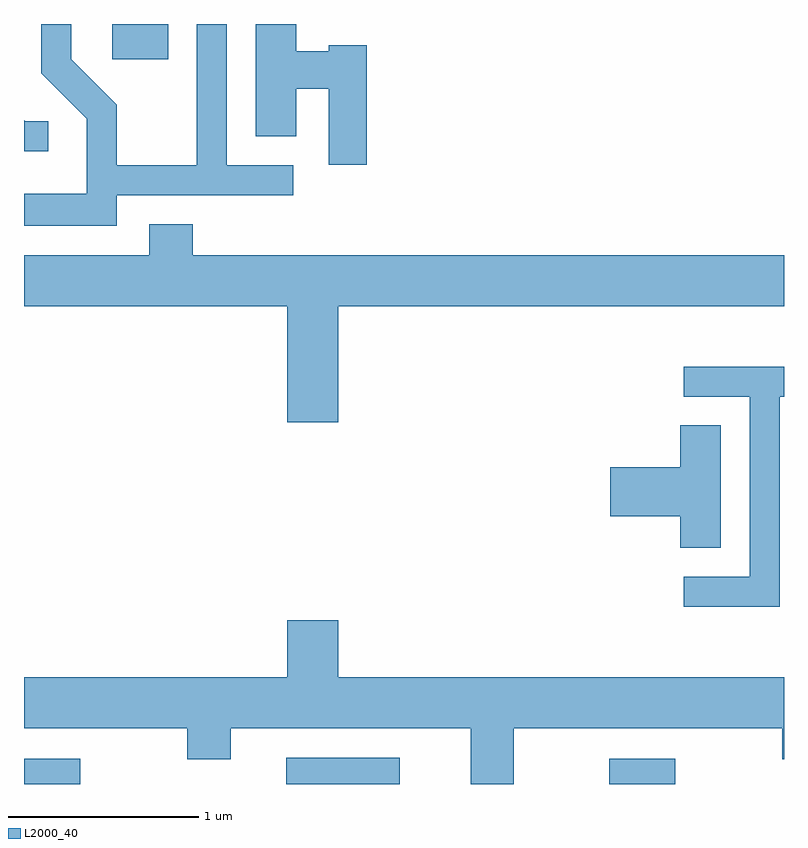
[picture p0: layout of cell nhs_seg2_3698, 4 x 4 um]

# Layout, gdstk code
import gdstk
lib = gdstk.Library(unit=1e-6, precision=1e-09)
def R(c, l, rs):  # rectangles x0, y0, x1, y1
    for r in rs: c.add(gdstk.rectangle(r[:2], r[2:], *l))
def P(c, l, *ps):  # polygons
    for p in ps: c.add(gdstk.Polygon(p, *l))
L2000_40 = (2000, 40)

nhs_seg2_3698 = lib.new_cell('nhs_seg2_3698')
R(nhs_seg2_3698, L2000_40, [(293.611,1045.802,293.908,1045.934), (294.991,1045.802,295.588,1045.939), (296.691,1045.802,297.038,1045.934), (294.076,1049.616,294.369,1049.802)])
P(nhs_seg2_3698, L2000_40, [(294.099,1048.901),(295.028,1048.901),(295.028,1049.059),(294.679,1049.059),(294.679,1049.802),(294.521,1049.802),(294.521,1049.059),(294.099,1049.059),(294.099,1049.377),(293.859,1049.617),(293.859,1049.802),(293.701,1049.802),(293.701,1049.544),(293.941,1049.304),(293.941,1048.909),(293.611,1048.909),(293.611,1048.741),(294.099,1048.741)],
  [(295.414,1049.689),(295.216,1049.689),(295.216,1049.659),(295.044,1049.659),(295.044,1049.802),(294.831,1049.802),(294.831,1049.211),(295.044,1049.211),(295.044,1049.461),(295.216,1049.461),(295.216,1049.061),(295.414,1049.061)],
  [(293.738,1049.289),(293.617,1049.289),(293.611,1049.295),(293.611,1049.131),(293.738,1049.131)],
  [(295.264,1048.316),(297.611,1048.316),(297.611,1048.584),(294.499,1048.584),(294.499,1048.749),(294.271,1048.749),(294.271,1048.584),(293.611,1048.584),(293.611,1048.316),(294.996,1048.316),(294.996,1047.706),(295.264,1047.706)],
  [(297.589,1047.841),(297.611,1047.841),(297.611,1047.999),(297.083,1047.999),(297.083,1047.841),(297.431,1047.841),(297.431,1046.894),(297.083,1046.894),(297.083,1046.736),(297.589,1046.736)],
  [(297.279,1047.689),(297.066,1047.689),(297.066,1047.469),(296.696,1047.469),(296.696,1047.211),(297.066,1047.211),(297.066,1047.046),(297.279,1047.046)],
  [(293.611,1046.096),(294.471,1046.096),(294.471,1045.931),(294.699,1045.931),(294.699,1046.096),(295.961,1046.096),(295.961,1045.802),(296.189,1045.802),(296.189,1046.096),(297.601,1046.096),(297.601,1045.931),(297.611,1045.931),(297.611,1046.364),(295.264,1046.364),(295.264,1046.664),(294.996,1046.664),(294.996,1046.364),(293.611,1046.364)])

lib.write_gds('nhs_seg2_3698.gds')
